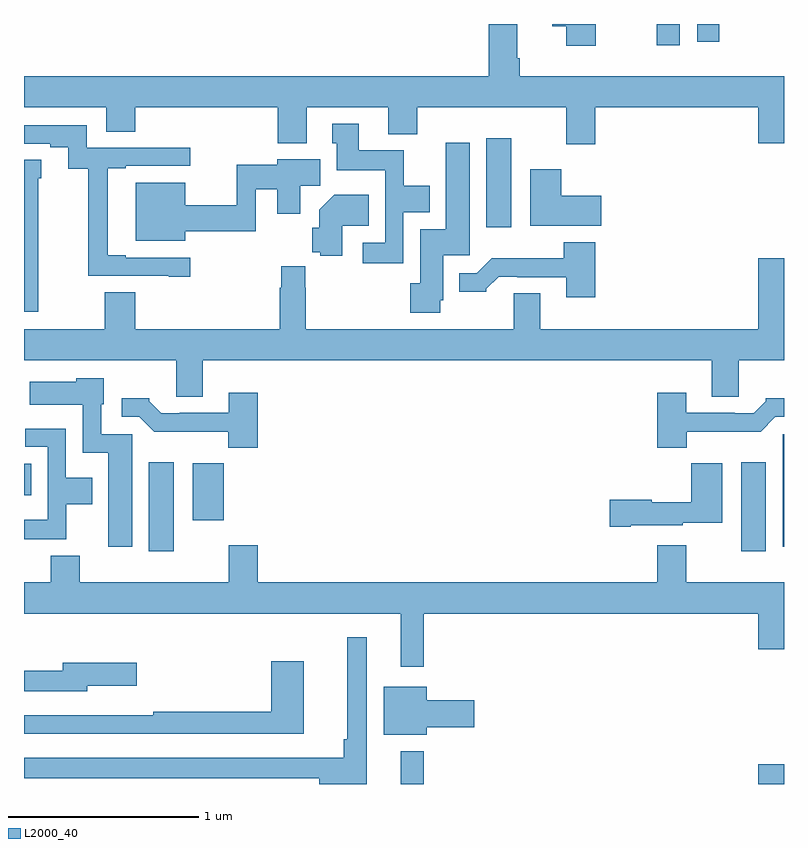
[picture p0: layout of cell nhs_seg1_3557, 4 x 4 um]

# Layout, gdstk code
import gdstk
lib = gdstk.Library(unit=1e-6, precision=1e-09)
def R(c, l, rs):  # rectangles x0, y0, x1, y1
    for r in rs: c.add(gdstk.rectangle(r[:2], r[2:], *l))
def P(c, l, *ps):  # polygons
    for p in ps: c.add(gdstk.Polygon(p, *l))
L2000_40 = (2000, 40)

nhs_seg1_3557 = lib.new_cell('nhs_seg1_3557')
R(nhs_seg1_3557, L2000_40, [(306.983,520.199,307.105,520.372), (308.864,520.199,309,520.303), (305.657,521.424,305.788,521.893), (308.774,521.424,308.905,521.893), (308.993,521.448,309,522.039), (305,521.72,305.039,521.884), (307.433,523.128,307.564,523.597), (308.33,524.088,308.452,524.199), (308.544,524.106,308.66,524.199)])
P(nhs_seg1_3557, L2000_40, [(308.006,523.76),(308.864,523.76),(308.864,523.572),(309,523.572),(309,523.924),(307.61,523.924),(307.61,524.02),(307.597,524.02),(307.597,524.199),(307.445,524.199),(307.445,523.924),(305,523.924),(305,523.76),(305.432,523.76),(305.432,523.633),(305.585,523.633),(305.585,523.76),(306.335,523.76),(306.335,523.571),(306.487,523.571),(306.487,523.76),(306.917,523.76),(306.917,523.619),(307.07,523.619),(307.07,523.76),(307.853,523.76),(307.853,523.566),(308.006,523.566)],
  [(308.008,524.199),(307.781,524.199),(307.781,524.186),(307.853,524.186),(307.853,524.085),(308.008,524.085)],
  [(306.996,523.208),(307.135,523.208),(307.135,523.348),(306.999,523.348),(306.999,523.534),(306.763,523.534),(306.763,523.675),(306.623,523.675),(306.623,523.572),(306.647,523.572),(306.647,523.43),(306.9,523.43),(306.9,523.047),(306.783,523.047),(306.783,522.939),(306.996,522.939)],
  [(305.875,522.969),(305.536,522.969),(305.536,522.982),(305.44,522.982),(305.44,523.44),(305.536,523.44),(305.536,523.452),(305.875,523.452),(305.875,523.548),(305.331,523.548),(305.331,523.665),(305,523.665),(305,523.569),(305.138,523.569),(305.138,523.551),(305.234,523.551),(305.234,523.436),(305.338,523.436),(305.338,522.873),(305.762,522.873),(305.762,522.868),(305.875,522.868)],
  [(307.191,522.744),(307.207,522.744),(307.207,522.981),(307.345,522.981),(307.345,523.573),(307.22,523.573),(307.22,523.12),(307.085,523.12),(307.085,522.834),(307.034,522.834),(307.034,522.678),(307.191,522.678)],
  [(305.848,523.108),(306.219,523.108),(306.219,523.33),(306.332,523.33),(306.332,523.2),(306.454,523.2),(306.454,523.348),(306.559,523.348),(306.559,523.486),(306.332,523.486),(306.332,523.459),(306.121,523.459),(306.121,523.244),(305.848,523.244),(305.848,523.363),(305.588,523.363),(305.588,523.058),(305.848,523.058)],
  [(305.074,523.386),(305.092,523.386),(305.092,523.484),(305,523.484),(305,522.684),(305.074,522.684)],
  [(308.038,523.294),(307.828,523.294),(307.828,523.435),(307.664,523.435),(307.664,523.136),(308.038,523.136)],
  [(306.676,523.136),(306.815,523.136),(306.815,523.3),(306.632,523.3),(306.554,523.222),(306.554,523.126),(306.516,523.126),(306.516,522.998),(306.558,522.998),(306.558,522.979),(306.676,522.979)],
  [(308.006,523.051),(307.841,523.051),(307.841,522.967),(307.462,522.967),(307.383,522.888),(307.292,522.888),(307.292,522.791),(307.434,522.791),(307.434,522.806),(307.498,522.87),(307.597,522.87),(307.597,522.867),(307.853,522.867),(307.853,522.762),(308.006,522.762)],
  [(305.585,522.788),(305.425,522.788),(305.425,522.592),(305,522.592),(305,522.428),(305.801,522.428),(305.801,522.238),(305.941,522.238),(305.941,522.428),(308.621,522.428),(308.621,522.238),(308.761,522.238),(308.761,522.428),(309,522.428),(309,522.967),(308.864,522.967),(308.864,522.592),(307.717,522.592),(307.717,522.782),(307.577,522.782),(307.577,522.592),(306.482,522.592),(306.482,522.812),(306.481,522.812),(306.481,522.925),(306.354,522.925),(306.354,522.812),(306.346,522.812),(306.346,522.592),(305.585,522.592)],
  [(305.569,522.039),(305.406,522.039),(305.406,522.198),(305.419,522.198),(305.419,522.334),(305.274,522.334),(305.274,522.316),(305.031,522.316),(305.031,522.194),(305.31,522.194),(305.31,521.942),(305.444,521.942),(305.444,521.448),(305.569,521.448)],
  [(308.488,522.054),(308.877,522.054),(308.955,522.132),(309,522.132),(309,522.229),(308.904,522.229),(308.904,522.214),(308.84,522.15),(308.741,522.15),(308.741,522.153),(308.485,522.153),(308.485,522.259),(308.333,522.259),(308.333,521.969),(308.488,521.969)],
  [(306.23,522.259),(306.077,522.259),(306.077,522.153),(305.821,522.153),(305.821,522.15),(305.722,522.15),(305.658,522.214),(305.658,522.229),(305.514,522.229),(305.514,522.132),(305.607,522.132),(305.686,522.054),(306.075,522.054),(306.075,521.969),(306.23,521.969)],
  [(305.223,521.672),(305.359,521.672),(305.359,521.812),(305.22,521.812),(305.22,522.069),(305.007,522.069),(305.007,521.973),(305.124,521.973),(305.124,521.59),(305,521.59),(305,521.486),(305.223,521.486)],
  [(308.194,521.561),(308.466,521.561),(308.466,521.573),(308.674,521.573),(308.674,521.887),(308.512,521.887),(308.512,521.683),(308.304,521.683),(308.304,521.696),(308.082,521.696),(308.082,521.554),(308.194,521.554)],
  [(306.052,521.739),(306.05,521.739),(306.05,521.887),(305.888,521.887),(305.888,521.586),(306.052,521.586)],
  [(307.105,521.096),(308.864,521.096),(308.864,520.908),(309,520.908),(309,521.26),(308.485,521.26),(308.485,521.455),(308.333,521.455),(308.333,521.26),(306.23,521.26),(306.23,521.455),(306.077,521.455),(306.077,521.26),(305.294,521.26),(305.294,521.401),(305.141,521.401),(305.141,521.26),(305,521.26),(305,521.096),(306.983,521.096),(306.983,520.815),(307.105,520.815)],
  [(306.805,520.972),(306.701,520.972),(306.701,520.435),(306.684,520.435),(306.684,520.338),(305,520.338),(305,520.23),(306.554,520.23),(306.554,520.199),(306.805,520.199)],
  [(306.472,520.846),(306.302,520.846),(306.302,520.58),(305.68,520.58),(305.68,520.561),(305.428,520.561),(305.428,520.56),(305,520.56),(305,520.464),(306.472,520.464)],
  [(305.332,520.715),(305.593,520.715),(305.593,520.837),(305.204,520.837),(305.204,520.795),(305,520.795),(305,520.686),(305.332,520.686)],
  [(307.12,520.499),(307.369,520.499),(307.369,520.641),(307.12,520.641),(307.12,520.711),(306.893,520.711),(306.893,520.457),(307.12,520.457)])

lib.write_gds('nhs_seg1_3557.gds')
